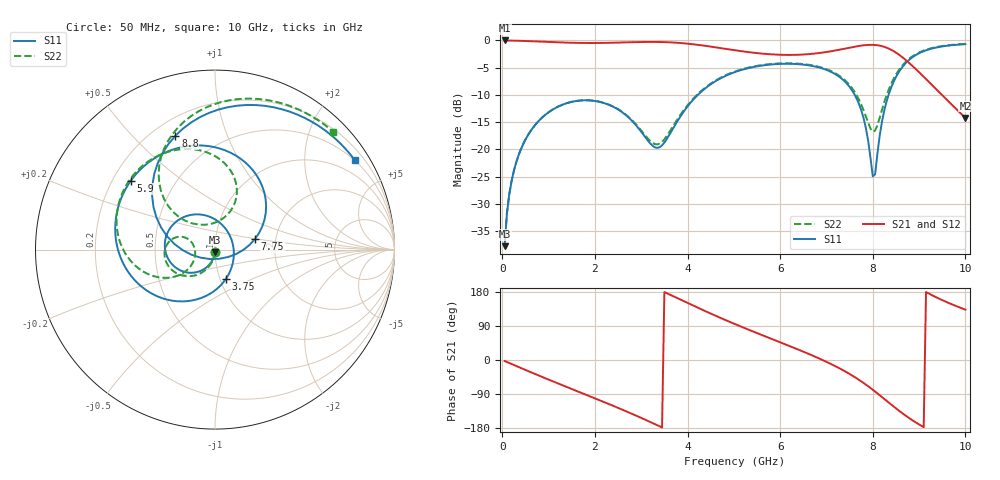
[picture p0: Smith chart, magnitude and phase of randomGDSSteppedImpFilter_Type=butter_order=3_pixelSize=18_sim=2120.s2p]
! freq	dB(S11)	phase(S11)	dB(S12)	phase(S12)
!  dB(S21)	phase(S21)	dB(S22)	phase(S22)
!S-par simulation data
#  GHz  S  DB  R 50
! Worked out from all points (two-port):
!   200 points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, 50 MHz to 10 GHz, reference 50 ohm
!   highest |S21| = 0.00 dB at 50 MHz (marker M1); lowest = -14.2 dB at 10 GHz (marker M2)
!   |S21| within 3 dB of the highest: start of sweep to 8.627 GHz
!   lowest |S11| = -37.8 dB at 50 MHz (marker M3), VSWR 1.03, Z = 49.9 - j1.29 ohm
!   |S11| at or under -10 dB: start of sweep to 4.222 GHz; 7.611 GHz to 8.341 GHz (730.3 MHz wide, 9.16 % of centre)
!   |S22| runs from -37.7 to -0.6 dB; largest |S21 - S12| = 0
!   S11 on the Smith chart (normalised r, x): 50 MHz: 1.00, -0.03; 3.75 GHz: 1.07, -0.36; 5.9 GHz: 0.27, +0.33; 7.75 GHz: 1.56, +0.19; 8.8 GHz: 0.29, +0.67; 10 GHz: 0.49, +3.34
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0.05  -37.76 -92.6  -0.00 -2.7  -0.00 -2.7  -37.73 -92.1
0.1  -31.76 -95.7  -0.01 -5.3  -0.01 -5.3  -31.75 -94.7
0.2  -25.82 -101.6  -0.03 -10.6  -0.03 -10.6  -25.82 -99.9
0.5  -18.21 -118.9  -0.10 -26.2  -0.10 -26.2  -18.20 -114.6
1.15  -12.39 -155.2  -0.33 -59.3  -0.33 -59.3  -12.37 -144.5
1.75  -10.99 171.1  -0.47 -88.8  -0.47 -88.8  -10.98 -169.8
2.55  -12.94 119.5  -0.39 -128.9  -0.39 -128.9  -12.88 162.3
3.4  -19.59 -3.9  -0.29 -175.1  -0.29 -175.1  -18.93 -167.5
3.75  -15.25 -68.9  -0.41 164.9  -0.41 164.9  -14.89 -144.4
4.4  -8.68 -129.2  -1.01 128.0  -1.01 128.0  -8.53 -156.9
5.05  -5.73 -171.5  -1.84 93.5  -1.84 93.5  -5.62 177.2
5.9  -4.35 140.8  -2.60 51.6  -2.60 51.6  -4.26 142.3
6.7  -4.69 96.1  -2.45 11.7  -2.45 11.7  -4.59 108.5
7.3  -6.82 56.7  -1.67 -23.2  -1.67 -23.2  -6.62 81.2
7.75  -12.78 14.7  -0.95 -56.3  -0.95 -56.3  -11.76 67.0
8  -24.94 -64.5  -0.81 -78.5  -0.81 -78.5  -16.76 98.0
8.05  -24.58 -116.7  -0.84 -83.2  -0.84 -83.2  -16.54 111.7
8.2  -14.86 -179.1  -1.06 -97.9  -1.06 -97.9  -12.71 135.9
8.35  -9.75 157.6  -1.52 -112.8  -1.52 -112.8  -8.92 137.0
8.8  -3.46 109.2  -4.24 -154.5  -4.24 -154.5  -3.26 110.0
9.3  -1.44 70.9  -8.36 169.7  -8.36 169.7  -1.35 79.1
10  -0.68 32.7  -14.22 132.8  -14.22 132.8  -0.63 44.9
